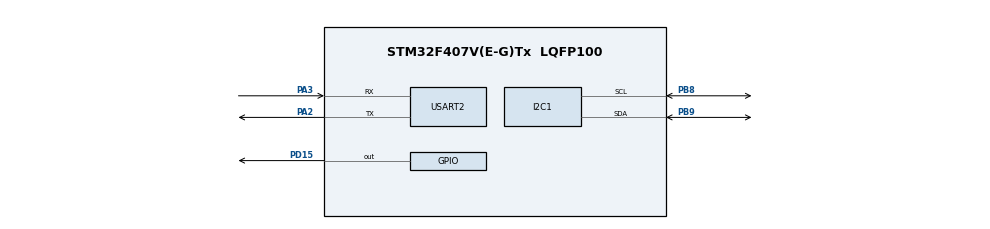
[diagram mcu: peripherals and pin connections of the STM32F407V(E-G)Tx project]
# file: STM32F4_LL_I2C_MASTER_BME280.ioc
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Mcu.Family=STM32F4
Mcu.Name=STM32F407V(E-G)Tx
Mcu.Package=LQFP100
NVIC.PriorityGroup=NVIC_PRIORITYGROUP_0
PA13.Mode=Serial_Wire
PA13.Signal=SYS_JTMS-SWDIO
PA14.Mode=Serial_Wire
PA14.Signal=SYS_JTCK-SWCLK
PA2.Mode=Asynchronous
PA2.Signal=USART2_TX
PA3.Mode=Asynchronous
PA3.Signal=USART2_RX
PB8.GPIO_Pu=GPIO_PULLUP
PB8.Mode=I2C
PB8.Signal=I2C1_SCL
PB9.GPIO_Pu=GPIO_PULLUP
PB9.Mode=I2C
PB9.Signal=I2C1_SDA
PD15.Signal=GPIO_Output
PH0-OSC_IN.Mode=HSE-External-Oscillator
PH0-OSC_IN.Signal=RCC_OSC_IN
PH1-OSC_OUT.Mode=HSE-External-Oscillator
PH1-OSC_OUT.Signal=RCC_OSC_OUT
ProjectManager.HeapSize=0x200
ProjectManager.StackSize=0x400
ProjectManager.TargetToolchain=STM32CubeIDE
RCC.48MHZClocksFreq_Value=48000000
RCC.AHBFreq_Value=168000000
RCC.APB1CLKDivider=RCC_HCLK_DIV4
RCC.APB1Freq_Value=42000000
RCC.APB1TimFreq_Value=84000000
RCC.APB2CLKDivider=RCC_HCLK_DIV2
RCC.APB2Freq_Value=84000000
RCC.APB2TimFreq_Value=168000000
RCC.CortexFreq_Value=168000000
RCC.HCLKFreq_Value=168000000
RCC.HSE_VALUE=8000000
RCC.HSI_VALUE=16000000
RCC.LSE_VALUE=32768
RCC.PLLM=8
RCC.PLLN=336
RCC.PLLQ=7
RCC.PLLSourceVirtual=RCC_PLLSOURCE_HSE
RCC.SYSCLKFreq_VALUE=168000000
RCC.SYSCLKSource=RCC_SYSCLKSOURCE_PLLCLK
RCC.VCOOutputFreq_Value=336000000
USART2.VirtualMode=VM_ASYNC
board=STM32F407G-DISC1

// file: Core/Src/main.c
/* USER CODE BEGIN Header */
/**
 ******************************************************************************
 * @file           : main.c
 * @brief          : Main program body
 ******************************************************************************
 * @attention
 *
 * Copyright (c) 2022 STMicroelectronics.
 * All rights reserved.
 *
 * This software is licensed under terms that can be found in the LICENSE file
 * in the root directory of this software component.
 * If no LICENSE file comes with this software, it is provided AS-IS.
 *
 ******************************************************************************
 */
/* USER CODE END Header */
#include "main.h"
#include "i2c.h"
#include "usart.h"
#include "gpio.h"

/* USER CODE BEGIN Includes */
#include <stdlib.h>
#include <stdio.h>
#include <string.h>
#include "BME280/bme280.h"
/* USER CODE END Includes */

void SystemClock_Config(void);

/* USER CODE BEGIN 0 */

// bme280 variables
float temperature;
float humidity;
float pressure;

struct bme280_dev dev;
struct bme280_data comp_data;
int8_t rslt;

// support printf
int __io_putchar (int ch)
{
  while (!LL_USART_IsActiveFlag_TXE(USART2));
  LL_USART_TransmitData8(USART2, (char)ch);
  return ch;
}

// Master transmitter
int8_t I2C_MasterTx(uint8_t devAddr, uint8_t* buffer, uint16_t len, uint16_t ms)
{
  // timeout counter
  uint16_t cnt = 0;

  // 1. start condition
  LL_I2C_GenerateStartCondition(I2C1);

  // 2. check start bit flag
  while(!LL_I2C_IsActiveFlag_SB(I2C1))
  {
    LL_mDelay(1);
    if(cnt++ > ms) return -1;
  }

  // 3. write device address (WRITE)
  LL_I2C_TransmitData8(I2C1, (devAddr << 1) | 0x00);

  // 4. wait address sent
  while(!LL_I2C_IsActiveFlag_ADDR(I2C1))
  {
    LL_mDelay(1);
    if(cnt++ > ms) return -1;
  }

  // 5. clear ADDR flag
  LL_I2C_ClearFlag_ADDR(I2C1);

  // 6. check TXE flag & write data
  for(int i=0; i < len; i++)
  {
    while(!LL_I2C_IsActiveFlag_TXE(I2C1))
    {
      LL_mDelay(1);
      if(cnt++ > ms) return -1;
    }

    LL_I2C_TransmitData8(I2C1, buffer[i]);
  }

  // 7. wait BTF flag (TXE flag set & empty DR condition)
  while(!LL_I2C_IsActiveFlag_BTF(I2C1))
  {
    LL_mDelay(1);
    if(cnt++ > ms) return -1;
  }

  // 8. stop condition
  LL_I2C_GenerateStopCondition(I2C1);

  return 0;
}

// Master receiver
int8_t I2C_MasterRx(uint8_t devAddr, uint8_t* buffer, uint8_t len, uint16_t ms)
{
  // timeout counter
  uint16_t cnt = 0;

  // 1. fast NACK configuration when receiving single byte.
  if(len == 1)
  {
    LL_I2C_AcknowledgeNextData(I2C1, LL_I2C_NACK);
  }
  else
  {
    LL_I2C_AcknowledgeNextData(I2C1, LL_I2C_ACK);
  }

  // 2. start condition
  LL_I2C_GenerateStartCondition(I2C1);

  // 3. check start bit flag
  while(!LL_I2C_IsActiveFlag_SB(I2C1))
  {
    LL_mDelay(1);
    if(cnt++ > ms) return -1;
  }

  // 4. write device address (READ)
  LL_I2C_TransmitData8(I2C1, (devAddr << 1) | 0x01);

  // 5. wait address sent
  while(!LL_I2C_IsActiveFlag_ADDR(I2C1))
  {
    LL_mDelay(1);
    if(cnt++ > ms) return -1;
  }

  // 6. clear ADDR flag
  LL_I2C_ClearFlag_ADDR(I2C1);

  // 7. check RXNE flag & read data
  for(int i = 0; i < len; i++)
  {
    // 8. NACK at last byte
    if(i == len - 1)
    {
      LL_I2C_AcknowledgeNextData(I2C1, LL_I2C_NACK);
    }

    while(!LL_I2C_IsActiveFlag_RXNE(I2C1))
    {
      LL_mDelay(1);
      if(cnt++ > ms) return -1;
    }

    buffer[i] = LL_I2C_ReceiveData8(I2C1);
  }

  // 9. stop condition
  LL_I2C_GenerateStopCondition(I2C1);

  return 0;
}

int8_t user_i2c_read(uint8_t id, uint8_t reg_addr, uint8_t *data, uint16_t len)
{
  // send register
  if(I2C_MasterTx(id, &reg_addr, 1, 50) < 0) return -1;
  // read data
  if(I2C_MasterRx(id, data, len, 50) < 0) return -1;
  return 0;
}

void user_delay_ms(uint32_t period)
{
  LL_mDelay(period);
}

int8_t user_i2c_write(uint8_t id, uint8_t reg_addr, uint8_t *data, uint16_t len)
{
  int8_t *buf;
  buf = malloc(len +1);
  buf[0] = reg_addr;
  memcpy(buf +1, data, len);

  //send register + data
  if(I2C_MasterTx(id, (uint8_t*)buf, len + 1, 50) < 0)
  {
    free(buf);
    return -1;
  }

  free(buf);
  return 0;
}

/* USER CODE END 0 */

int main(void)
{

  /* MCU Configuration--------------------------------------------------------*/

  /* Reset of all peripherals, Initializes the Flash interface and the Systick. */
  LL_APB2_GRP1_EnableClock(LL_APB2_GRP1_PERIPH_SYSCFG);
  LL_APB1_GRP1_EnableClock(LL_APB1_GRP1_PERIPH_PWR);

  /* System interrupt init*/
  NVIC_SetPriorityGrouping(NVIC_PRIORITYGROUP_0);

  /* Configure the system clock */
  SystemClock_Config();

  /* Initialize all configured peripherals */
  MX_GPIO_Init();
  MX_I2C1_Init();
  MX_USART2_UART_Init();
  /* USER CODE BEGIN 2 */

  // free I2C busy line
  while(LL_I2C_IsActiveFlag_BUSY(I2C1))
  {
    printf("I2C1 is busy. Toggle SCL to free I2C1.\r\n");

    // change SCL to GPIO output
    LL_GPIO_InitTypeDef GPIO_InitStruct = {0};
    GPIO_InitStruct.Pin = LL_GPIO_PIN_8;
    GPIO_InitStruct.Mode = LL_GPIO_MODE_OUTPUT;
    GPIO_InitStruct.Speed = LL_GPIO_SPEED_FREQ_LOW;
    GPIO_InitStruct.OutputType = LL_GPIO_OUTPUT_PUSHPULL;
    GPIO_InitStruct.Pull = LL_GPIO_PULL_NO;
    LL_GPIO_Init(GPIOB, &GPIO_InitStruct);

    // toggle SCL
    for(int i =0; i < 50; i++)
    {
      LL_GPIO_TogglePin(GPIOB, LL_GPIO_PIN_8);
      LL_mDelay(1);
    }

    LL_mDelay(100);
  }

  // initialize BME280
  dev.dev_id = BME280_I2C_ADDR_PRIM;
  dev.intf = BME280_I2C_INTF;
  dev.read = user_i2c_read;
  dev.write = user_i2c_write;
  dev.delay_ms = user_delay_ms;

  rslt = bme280_init(&dev);
  if(rslt != BME280_OK)
  {
    printf("Fail to initialize BME280.\r\n");
    while(1);
  }

  // configure BME280
  dev.settings.osr_h = BME280_OVERSAMPLING_1X;
  dev.settings.osr_p = BME280_OVERSAMPLING_16X;
  dev.settings.osr_t = BME280_OVERSAMPLING_2X;
  dev.settings.filter = BME280_FILTER_COEFF_16;
  rslt = bme280_set_sensor_settings(BME280_OSR_PRESS_SEL | BME280_OSR_TEMP_SEL | BME280_OSR_HUM_SEL | BME280_FILTER_SEL, &dev);
  if(rslt != BME280_OK)
  {
    printf("Fail to configure BME280.\r\n");
    while(1);
  }

  /* USER CODE END 2 */

  /* Infinite loop */
  /* USER CODE BEGIN WHILE */
  while (1)
  {
    // configure FORCED mode, turn into SLEEP mode after sensing
    bme280_set_sensor_mode(BME280_FORCED_MODE, &dev);
    dev.delay_ms(40);
    // measure sensors
    rslt = bme280_get_sensor_data(BME280_ALL, &comp_data, &dev);
    if(rslt == BME280_OK)
    {
      temperature = comp_data.temperature / 100.0;      /* °C  */
      humidity = comp_data.humidity / 1024.0;           /* %   */
      pressure = comp_data.pressure / 10000.0;          /* hPa */

      printf("Temp: %3.1f, Humidity:%3.1f, Pressure:%4.1f\r\n", temperature, humidity, pressure);
    }

    LL_GPIO_TogglePin(GPIOD, LL_GPIO_PIN_15);
    LL_mDelay(1000);

    /* USER CODE END WHILE */

  }
}

void SystemClock_Config(void)
{
  LL_FLASH_SetLatency(LL_FLASH_LATENCY_5);
  while(LL_FLASH_GetLatency()!= LL_FLASH_LATENCY_5)
  {
  }
  LL_PWR_SetRegulVoltageScaling(LL_PWR_REGU_VOLTAGE_SCALE1);
  LL_RCC_HSE_Enable();

  /* Wait till HSE is ready */
  while(LL_RCC_HSE_IsReady() != 1)
  {

  }
  LL_RCC_PLL_ConfigDomain_SYS(LL_RCC_PLLSOURCE_HSE, LL_RCC_PLLM_DIV_8, 336, LL_RCC_PLLP_DIV_2);
  LL_RCC_PLL_Enable();

  /* Wait till PLL is ready */
  while(LL_RCC_PLL_IsReady() != 1)
  {

  }
  LL_RCC_SetAHBPrescaler(LL_RCC_SYSCLK_DIV_1);
  LL_RCC_SetAPB1Prescaler(LL_RCC_APB1_DIV_4);
  LL_RCC_SetAPB2Prescaler(LL_RCC_APB2_DIV_2);
  LL_RCC_SetSysClkSource(LL_RCC_SYS_CLKSOURCE_PLL);

  /* Wait till System clock is ready */
  while(LL_RCC_GetSysClkSource() != LL_RCC_SYS_CLKSOURCE_STATUS_PLL)
  {

  }
  LL_Init1msTick(168000000);
  LL_SetSystemCoreClock(168000000);
}

void Error_Handler(void)
{
  __disable_irq();
  while (1)
  {
  }
}
